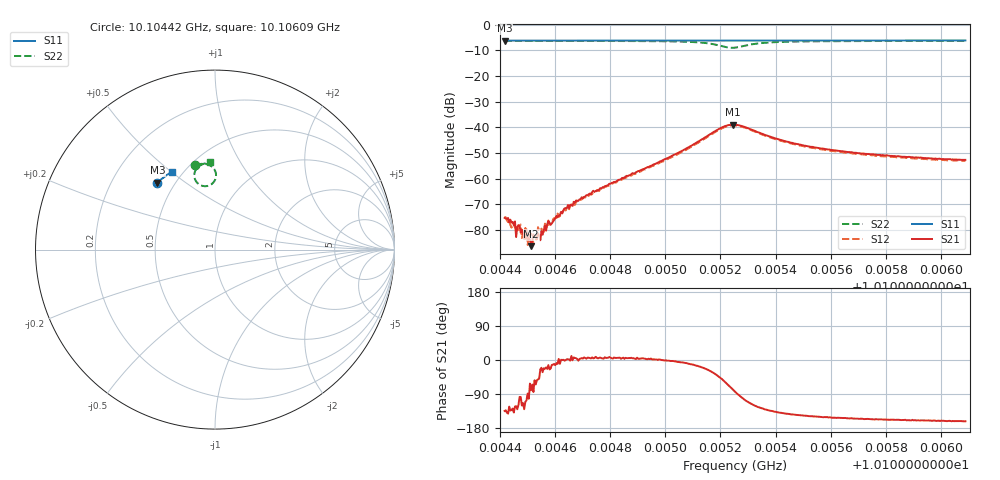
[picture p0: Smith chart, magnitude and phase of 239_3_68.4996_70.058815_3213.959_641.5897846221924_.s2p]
#  HZ  S  RI  R  50.00
! Rohde & Schwarz Vector Network Analyzer
! Rohde-Schwarz,ZNB20-2Port,1311601062101988,3.16
! Created: UTC 3/20/2024, 5:14:23 PM
! freq[Hz]  re:S11  im:S11  re:S21  im:S21  re:S12  im:S12  re:S22  im:S22
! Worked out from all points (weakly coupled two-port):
!   401 points, 10.10442 GHz to 10.10609 GHz, reference 50 ohm
!   highest |S21| = -38.94 dB at 10.10524 GHz (marker M1); lowest = -86.4 dB at 10.10451 GHz (marker M2)
!   lowest |S11| = -6.2 dB at 10.10442 GHz (marker M3), VSWR 2.94, Z = 20.1 + j19.8 ohm
!   |S11| at or under -10 dB: nowhere
!   |S22| runs from -9.0 to -6.3 dB; largest |S21 - S12| = 0.0012
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1.0104417e10  -0.321 0.3726  -0.00012 -0.000122  -0.000123 -0.000129  -0.1091 0.4717
1.0104433e10  -0.3203 0.3734  -7.55e-05 -0.000116  -8.83e-05 -0.000125  -0.1077 0.4719
1.0104458e10  -0.3192 0.3745  -3.81e-05 -6.12e-05  -4.93e-05 -9.01e-05  -0.1059 0.4725
1.0104483e10  -0.3182 0.3754  -3.51e-05 -7.97e-05  -2.08e-05 -8.58e-05  -0.1039 0.4729
1.0104513e10  -0.3167 0.3766  8.44e-06 -4.71e-05  -5.75e-07 -8.43e-05  -0.1014 0.4735
1.010455e10  -0.3152 0.3783  8.76e-05 -3.28e-05  9.69e-05 -4.12e-05  -0.0985 0.4742
1.0104559e10  -0.3146 0.3785  9.1e-05 -3.61e-05  8.03e-05 -4.13e-05  -0.0977 0.4743
1.010458e10  -0.3137 0.3794  0.000124 -5.72e-05  0.000125 -1.67e-05  -0.096 0.4747
1.0104601e10  -0.3126 0.3803  0.000164 -3.94e-05  0.000169 -1.97e-06  -0.0943 0.4751
1.0104638e10  -0.3109 0.3818  0.000266 -1.59e-06  0.000234 3.75e-05  -0.091 0.4756
1.0104697e10  -0.3083 0.3842  0.000431 3.71e-05  0.000389 6.34e-05  -0.0854 0.4766
1.0104977e10  -0.2952 0.3952  0.0021 5.72e-05  0.00198 0.000191  -0.0493 0.4765
1.0105086e10  -0.2899 0.3993  0.00405 -0.000721  0.00392 -0.000274  -0.0219 0.4657
1.0105177e10  -0.2852 0.4024  0.00672 -0.00477  0.00688 -0.00384  0.00587 0.4161
1.0105215e10  -0.2835 0.4036  0.00573 -0.00878  0.0064 -0.00781  -0.01 0.3728
1.0105244e10  -0.2822 0.4043  0.00246 -0.011  0.00345 -0.0104  -0.0502 0.3533
1.0105253e10  -0.2819 0.4046  0.00126 -0.0112  0.00236 -0.0107  -0.0634 0.3536
1.0105324e10  -0.279 0.4074  -0.00427 -0.00736  -0.00348 -0.00749  -0.1154 0.4096
1.010542e10  -0.2744 0.4111  -0.00428 -0.00368  -0.00381 -0.0039  -0.1014 0.4531
1.0105533e10  -0.2689 0.4152  -0.00354 -0.00217  -0.00321 -0.00236  -0.0822 0.4694
1.0105813e10  -0.2547 0.4249  -0.00258 -0.00105  -0.0024 -0.00124  -0.0513 0.4814
1.0106089e10  -0.2405 0.4338  -0.0022 -0.000728  -0.00203 -0.000908  -0.0286 0.4856
